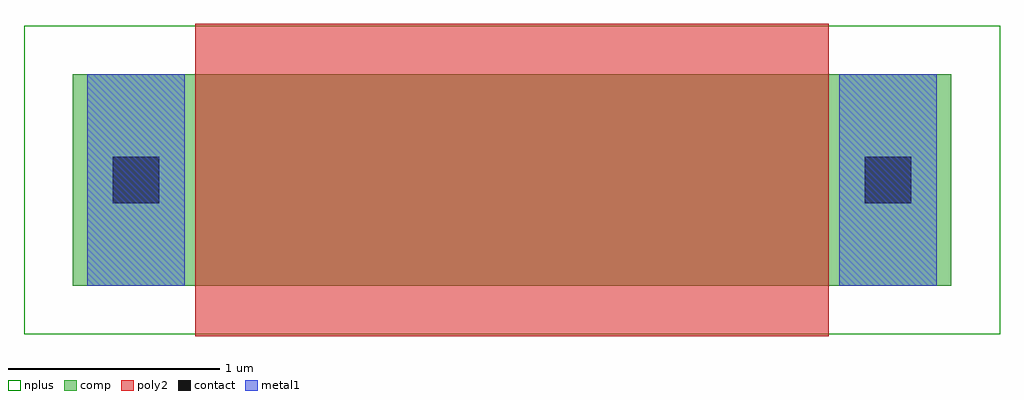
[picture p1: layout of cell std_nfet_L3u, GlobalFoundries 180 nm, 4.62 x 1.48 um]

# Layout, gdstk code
import gdstk
lib = gdstk.Library(unit=1e-6, precision=5e-09)
def R(c, l, rs):  # rectangles x0, y0, x1, y1
    for r in rs: c.add(gdstk.rectangle(r[:2], r[2:], *l))
comp = (22, 0)
poly2 = (30, 0)
nplus = (32, 0)
contact = (33, 0)
metal1 = (34, 0)

std_nfet_l3u = lib.new_cell('std_nfet_L3u')
R(std_nfet_l3u, comp, [(-2.08,-0.5,2.08,0.5)])
R(std_nfet_l3u, poly2, [(-1.5,-0.74,1.5,0.74)])
R(std_nfet_l3u, nplus, [(-2.31,-0.73,2.31,0.73)])
R(std_nfet_l3u, contact, [(-1.89,-0.11,-1.67,0.11), (1.67,-0.11,1.89,0.11)])
R(std_nfet_l3u, metal1, [(-2.01,-0.5,-1.55,0.5), (1.55,-0.5,2.01,0.5), (-2.01,-0.23,-1.55,0.23), (1.55,-0.23,2.01,0.23)])

lib.write_gds('std_nfet_L3u.gds')
